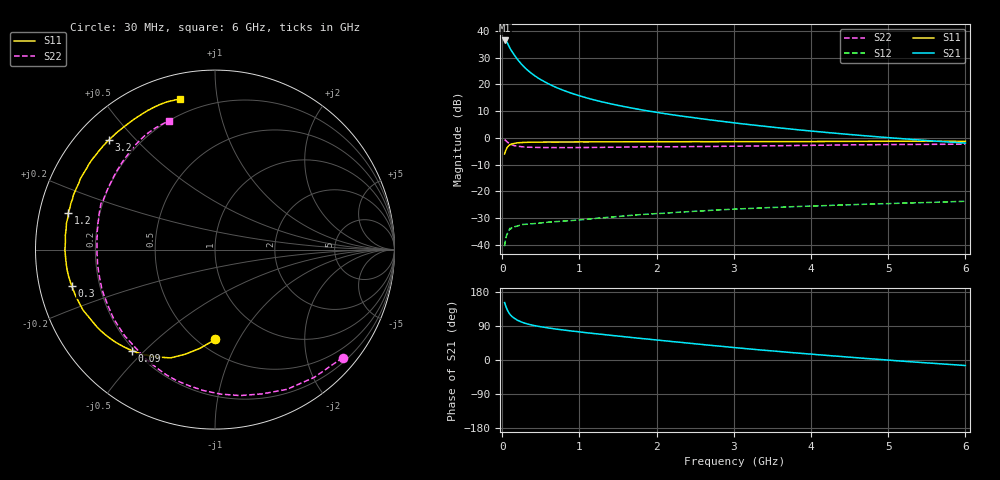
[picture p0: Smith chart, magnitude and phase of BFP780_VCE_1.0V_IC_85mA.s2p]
! Infineon Technologies  Discrete & RF Semiconductors
! BFP780
! VCE =  1.0 V,  IC =  85 mA
! Common Emitter S-Parameters:  Jul 2015
# GHz  S  MA  R  50
!  f  S11  S21  S12  S22
! GHz  MAG  ANG  MAG  ANG  MAG  ANG  MAG  ANG
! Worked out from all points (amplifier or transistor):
!   75 points, 30 MHz to 6 GHz, reference 50 ohm
!   highest |S21| = 36.4 dB at 30 MHz (marker M1)
!   |S21| within 3 dB of that: start of sweep to 101.9 MHz
!   unconditionally stable (mu >= 1): 1.732 GHz to end of sweep
!   at 150 MHz: K = 0.14, MSG = 32.2 dB, |S12| = -33.2 dB
!   at 2.3 GHz: K = 1.14, MAG = 15.7 dB, |S12| = -27.7 dB
!   at 6 GHz: K = 1.54, MAG = 6.5 dB, |S12| = -23.7 dB
!   S11 on the Smith chart (normalised r, x): 30 MHz: 0.60, -0.80; 90 MHz: 0.19, -0.46; 300 MHz: 0.10, -0.12; 1.2 GHz: 0.09, +0.12; 3.2 GHz: 0.10, +0.42; 6 GHz: 0.12, +0.79
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0.03  0.5003 -89.7  65.87 151.5  0.0095 66.2  0.9319 -40.2
0.04  0.5578 -98.9  65.14 145.0  0.0121 61.7  0.9014 -52.1
0.05  0.6055 -105.8  63.82 139.5  0.0142 52.1  0.8759 -62.7
0.06  0.6522 -112.3  61.07 134.6  0.0159 52.0  0.8458 -71.9
0.07  0.6806 -118.5  57.49 130.2  0.0167 47.3  0.8249 -80.3
0.09  0.7289 -129.3  50.2 123.1  0.0193 40.4  0.7877 -94.7
0.11  0.756 -136.7  44.51 118.0  0.02 35.3  0.7604 -106.4
0.15  0.7864 -146.8  36.21 110.9  0.0218 28.7  0.7195 -122.9
0.2  0.809 -155.4  28.66 104.6  0.0226 25.2  0.6956 -136.5
0.25  0.8178 -161.4  23.63 100.1  0.0241 21.6  0.6836 -145.7
0.3  0.8242 -165.9  19.92 96.6  0.0243 20.8  0.673 -152.4
0.45  0.8325 -174.3  13.51 89.5  0.0254 19.8  0.6632 -164.8
0.6  0.8362 -179.9  10.18 84.5  0.0267 20.4  0.6596 -172.4
0.8  0.8378 174.5  7.633 79.0  0.028 21.5  0.658 -179.2
1.1  0.8389 167.9  5.531 71.8  0.0302 23.2  0.6607 173.2
1.2  0.8428 165.9  5.074 69.6  0.0313 23.4  0.664 171.3
2.1  0.847 150.7  2.841 50.8  0.0391 23.8  0.6808 156.2
3.1  0.85 135.3  1.837 31.1  0.0474 20.0  0.7012 141.1
3.2  0.8501 133.9  1.769 29.2  0.048 19.5  0.7032 139.7
4.1  0.8549 121.8  1.302 13.8  0.0538 15.0  0.7274 128.8
5.1  0.8649 110.9  0.985 -1.8  0.0599 9.5  0.7507 118.6
6  0.8612 103.1  0.798 -14.6  0.0654 4.2  0.7628 109.5
